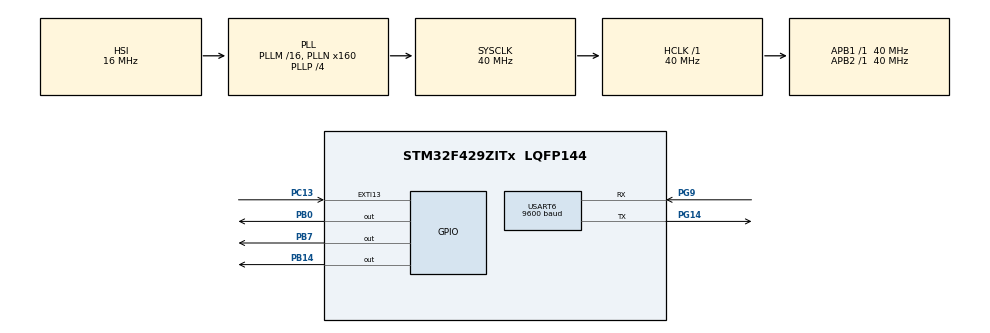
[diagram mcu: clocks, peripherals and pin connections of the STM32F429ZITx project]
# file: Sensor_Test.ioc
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FREERTOS.Tasks01=defaultTask,24,128,StartDefaultTask,Default,NULL,Dynamic,NULL,NULL;Read_Sensor,8,128,StartRead_Sensor,Default,NULL,Dynamic,NULL,NULL;NDVIRead,32,128,StartNDVIRead,Default,NULL,Dynamic,NULL,NULL;Feedback,8,128,StartFeedback,Default,NULL,Dynamic,NULL,NULL;Debounce,40,128,StartDebounce,Default,NULL,Dynamic,NULL,NULL
FREERTOS.configUSE_NEWLIB_REENTRANT=1
Mcu.Family=STM32F4
Mcu.Name=STM32F429ZITx
Mcu.Package=LQFP144
NVIC.EXTI15_10_IRQn=true\:5\:0\:false\:false\:true\:true\:true\:true\:true
NVIC.PriorityGroup=NVIC_PRIORITYGROUP_4
NVIC.TIM4_IRQn=true\:15\:0\:false\:false\:true\:false\:false\:true\:true
NVIC.TimeBase=TIM4_IRQn
NVIC.TimeBaseIP=TIM4
PB0.Signal=GPIO_Output
PB14.Signal=GPIO_Output
PB7.Signal=GPIO_Output
PC13.GPIO_ModeDefaultEXTI=GPIO_MODE_IT_RISING
PC13.Signal=GPXTI13
PG14.Mode=Asynchronous
PG14.Signal=USART6_TX
PG9.Mode=Asynchronous
PG9.Signal=USART6_RX
ProjectManager.HeapSize=0x200
ProjectManager.StackSize=0x400
ProjectManager.TargetToolchain=STM32CubeIDE
RCC.48MHZClocksFreq_Value=40000000
RCC.AHBFreq_Value=40000000
RCC.APB1Freq_Value=40000000
RCC.APB1TimFreq_Value=40000000
RCC.APB2Freq_Value=40000000
RCC.APB2TimFreq_Value=40000000
RCC.CortexFreq_Value=40000000
RCC.HCLKFreq_Value=40000000
RCC.HSE_VALUE=25000000
RCC.HSI_VALUE=16000000
RCC.LSE_VALUE=32768
RCC.PLLN=160
RCC.PLLP=RCC_PLLP_DIV4
RCC.SYSCLKFreq_VALUE=40000000
RCC.SYSCLKSource=RCC_SYSCLKSOURCE_PLLCLK
RCC.VCOOutputFreq_Value=160000000
USART6.BaudRate=9600
USART6.Mode=MODE_TX_RX
USART6.OverSampling=UART_OVERSAMPLING_16
USART6.VirtualMode=VM_ASYNC
VP_FREERTOS_VS_CMSIS_V2.Mode=CMSIS_V2
VP_SYS_VS_tim4.Mode=TIM4
board=custom

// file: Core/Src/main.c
/* USER CODE BEGIN Header */
/**
  ******************************************************************************
  * @file           : main.c
  * @brief          : Main program body
  ******************************************************************************
  * @attention
  *
  * Copyright (c) 2022 STMicroelectronics.
  * All rights reserved.
  *
  * This software is licensed under terms that can be found in the LICENSE file
  * in the root directory of this software component.
  * If no LICENSE file comes with this software, it is provided AS-IS.
  *
  ******************************************************************************
  */
/* USER CODE END Header */
#include "main.h"
#include "cmsis_os.h"
#include "usart.h"
#include "gpio.h"

void SystemClock_Config(void);
void MX_FREERTOS_Init(void);

int main(void)
{

  /* MCU Configuration--------------------------------------------------------*/

  /* Reset of all peripherals, Initializes the Flash interface and the Systick. */
  HAL_Init();

  /* Configure the system clock */
  SystemClock_Config();

  /* Initialize all configured peripherals */
  MX_GPIO_Init();
  MX_USART6_UART_Init();

  /* Init scheduler */
  osKernelInitialize();  /* Call init function for freertos objects (in freertos.c) */
  MX_FREERTOS_Init();

  /* Start scheduler */
  osKernelStart();

  /* We should never get here as control is now taken by the scheduler */
  /* Infinite loop */
  while (1)
  {

  }
}

void SystemClock_Config(void)
{
  RCC_OscInitTypeDef RCC_OscInitStruct = {0};
  RCC_ClkInitTypeDef RCC_ClkInitStruct = {0};

  /** Configure the main internal regulator output voltage
  */
  __HAL_RCC_PWR_CLK_ENABLE();
  __HAL_PWR_VOLTAGESCALING_CONFIG(PWR_REGULATOR_VOLTAGE_SCALE3);

  /** Initializes the RCC Oscillators according to the specified parameters
  * in the RCC_OscInitTypeDef structure.
  */
  RCC_OscInitStruct.OscillatorType = RCC_OSCILLATORTYPE_HSI;
  RCC_OscInitStruct.HSIState = RCC_HSI_ON;
  RCC_OscInitStruct.HSICalibrationValue = RCC_HSICALIBRATION_DEFAULT;
  RCC_OscInitStruct.PLL.PLLState = RCC_PLL_ON;
  RCC_OscInitStruct.PLL.PLLSource = RCC_PLLSOURCE_HSI;
  RCC_OscInitStruct.PLL.PLLM = 16;
  RCC_OscInitStruct.PLL.PLLN = 160;
  RCC_OscInitStruct.PLL.PLLP = RCC_PLLP_DIV4;
  RCC_OscInitStruct.PLL.PLLQ = 4;
  if (HAL_RCC_OscConfig(&RCC_OscInitStruct) != HAL_OK)
  {
    Error_Handler();
  }

  /** Initializes the CPU, AHB and APB buses clocks
  */
  RCC_ClkInitStruct.ClockType = RCC_CLOCKTYPE_HCLK|RCC_CLOCKTYPE_SYSCLK
                              |RCC_CLOCKTYPE_PCLK1|RCC_CLOCKTYPE_PCLK2;
  RCC_ClkInitStruct.SYSCLKSource = RCC_SYSCLKSOURCE_PLLCLK;
  RCC_ClkInitStruct.AHBCLKDivider = RCC_SYSCLK_DIV1;
  RCC_ClkInitStruct.APB1CLKDivider = RCC_HCLK_DIV1;
  RCC_ClkInitStruct.APB2CLKDivider = RCC_HCLK_DIV1;

  if (HAL_RCC_ClockConfig(&RCC_ClkInitStruct, FLASH_LATENCY_1) != HAL_OK)
  {
    Error_Handler();
  }
}

void HAL_TIM_PeriodElapsedCallback(TIM_HandleTypeDef *htim)
{
  if (htim->Instance == TIM4) {
    HAL_IncTick();
  }
}

void Error_Handler(void)
{
  __disable_irq();
  while (1)
  {
  }
}

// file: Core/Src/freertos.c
/* USER CODE BEGIN Header */
/**
  ******************************************************************************
  * File Name          : freertos.c
  * Description        : Code for freertos applications
  ******************************************************************************
  * @attention
  *
  * Copyright (c) 2022 STMicroelectronics.
  * All rights reserved.
  *
  * This software is licensed under terms that can be found in the LICENSE file
  * in the root directory of this software component.
  * If no LICENSE file comes with this software, it is provided AS-IS.
  *
  ******************************************************************************
  */
/* USER CODE END Header */

#include "FreeRTOS.h"
#include "task.h"
#include "main.h"
#include "cmsis_os.h"

/* USER CODE BEGIN Includes */
#include "variables.h"
#include "usart.h"
/* USER CODE END Includes */

/* USER CODE BEGIN PD */
float IR;
float LR;
float NDVI;
int Hum;
int Lum;

/* USER CODE END PD */

/* Definitions for defaultTask */
osThreadId_t defaultTaskHandle;
const osThreadAttr_t defaultTask_attributes = {
  .name = "defaultTask",
  .stack_size = 128 * 4,
  .priority = (osPriority_t) osPriorityNormal,
};
/* Definitions for Read_Sensor */
osThreadId_t Read_SensorHandle;
const osThreadAttr_t Read_Sensor_attributes = {
  .name = "Read_Sensor",
  .stack_size = 128 * 4,
  .priority = (osPriority_t) osPriorityLow,
};
/* Definitions for NDVIRead */
osThreadId_t NDVIReadHandle;
const osThreadAttr_t NDVIRead_attributes = {
  .name = "NDVIRead",
  .stack_size = 128 * 4,
  .priority = (osPriority_t) osPriorityAboveNormal,
};
/* Definitions for Feedback */
osThreadId_t FeedbackHandle;
const osThreadAttr_t Feedback_attributes = {
  .name = "Feedback",
  .stack_size = 128 * 4,
  .priority = (osPriority_t) osPriorityLow,
};
/* Definitions for Debounce */
osThreadId_t DebounceHandle;
const osThreadAttr_t Debounce_attributes = {
  .name = "Debounce",
  .stack_size = 128 * 4,
  .priority = (osPriority_t) osPriorityHigh,
};

void StartDefaultTask(void *argument);
void StartRead_Sensor(void *argument);
void StartNDVIRead(void *argument);
void StartFeedback(void *argument);
void StartDebounce(void *argument);

void MX_FREERTOS_Init(void); /* (MISRA C 2004 rule 8.1) */

void MX_FREERTOS_Init(void) {

  /* Create the thread(s) */
  /* creation of defaultTask */
  defaultTaskHandle = osThreadNew(StartDefaultTask, NULL, &defaultTask_attributes);

  /* creation of Read_Sensor */
  Read_SensorHandle = osThreadNew(StartRead_Sensor, NULL, &Read_Sensor_attributes);

  /* creation of NDVIRead */
  NDVIReadHandle = osThreadNew(StartNDVIRead, NULL, &NDVIRead_attributes);

  /* creation of Feedback */
  FeedbackHandle = osThreadNew(StartFeedback, NULL, &Feedback_attributes);

  /* creation of Debounce */
  DebounceHandle = osThreadNew(StartDebounce, NULL, &Debounce_attributes);

}

void StartDefaultTask(void *argument)
{
  for(;;)
  {
    osDelay(1);
  }
}

void StartRead_Sensor(void *argument)
{
  /* USER CODE BEGIN StartRead_Sensor */
  /* Infinite loop */
	for(;;){
	  vTaskSuspend(NULL);
	  char n = 3;
	  char Msg[n];
	  int s = 0;
	  HAL_UART_Receive(&huart6, Msg, n, 5000);

	  for(int i = 0;i<n-1;i++){
		  s += Msg[i];
	  }

	  if(s==Msg[n-1]){
		  Hum = Msg[0];
		  Lum = Msg[1];
	  }
	}
  /* USER CODE END StartRead_Sensor */
}

void StartNDVIRead(void *argument)
{
  /* USER CODE BEGIN StartNDVIRead */
  /* Infinite loop */
	for(;;){
	  vTaskSuspend(NULL);
	  NDVI = (IR-LR)/(IR+LR);
	  NDVI *= 100;
	  int NDVI_int = (int)NDVI;

	  switch (NDVI_int){
		  case -100 ... 0:
			  //La planta esta muetra
			  break;
		  case 1 ... 33:
			  //La planta necesita Agua o Luz o Ambas
			  //Activo la lectura de los sensores
		  	  vTaskResume(Read_SensorHandle);
			  break;
		  case 34 ... 66:
			  //La planta necesita Agua o Luz o Ambas
			  //Activo la lectura de los sensores
		  	  vTaskResume(Read_SensorHandle);
			  break;
		  case 67 ... 100:
			  //La planta esta perfecta
			  break;
		  default:
			  break;
	  }
	  vTaskResume(FeedbackHandle);
	}
  /* USER CODE END StartNDVIRead */
}

void StartFeedback(void *argument)
{
  /* USER CODE BEGIN StartFeedback */
  /* Infinite loop */
  for(;;)
  {
	vTaskSuspend(NULL);
	int NDVI_int = (int)NDVI;
	switch (NDVI_int){
	  case -100 ... 0:
		  //La planta esta muetra
	  	  HAL_GPIO_WritePin(GPIOB, GPIO_PIN_14, GPIO_PIN_SET);
		  HAL_GPIO_WritePin(GPIOB, GPIO_PIN_7, GPIO_PIN_RESET);
		  HAL_GPIO_WritePin(GPIOB, GPIO_PIN_0, GPIO_PIN_SET);
		  break;
	  case 1 ... 33:
		  //La planta necesita Agua o Luz o Ambas
		  //Activo la lectura de los sensores
	  	  HAL_GPIO_WritePin(GPIOB, GPIO_PIN_0, GPIO_PIN_RESET);
		  HAL_GPIO_WritePin(GPIOB, GPIO_PIN_7, GPIO_PIN_RESET);
		  HAL_GPIO_WritePin(GPIOB, GPIO_PIN_14, GPIO_PIN_SET);
		  break;
	  case 34 ... 66:
		  //La planta necesita Agua o Luz o Ambas
		  //Activo la lectura de los sensores
	  	  HAL_GPIO_WritePin(GPIOB, GPIO_PIN_14, GPIO_PIN_RESET);
		  HAL_GPIO_WritePin(GPIOB, GPIO_PIN_7, GPIO_PIN_SET);
		  HAL_GPIO_WritePin(GPIOB, GPIO_PIN_0, GPIO_PIN_RESET);
		  break;
	  case 67 ... 100:
		  //La planta esta perfecta
	  	  HAL_GPIO_WritePin(GPIOB, GPIO_PIN_0, GPIO_PIN_SET);
		  HAL_GPIO_WritePin(GPIOB, GPIO_PIN_7, GPIO_PIN_RESET);
		  HAL_GPIO_WritePin(GPIOB, GPIO_PIN_14, GPIO_PIN_RESET);
		  break;
	  default:
		  break;
	}
  }
  /* USER CODE END StartFeedback */
}

void StartDebounce(void *argument)
{
  /* USER CODE BEGIN StartDebounce */
  /* Infinite loop */
  IR = 3.4;
  LR = 6.2;
  for(;;)
  {
	  vTaskSuspend(NULL);
	  // Inhabilita IRQ
	  HAL_NVIC_DisableIRQ(EXTI15_10_IRQn);
	  osDelay(1);
	  if (HAL_GPIO_ReadPin(GPIOC, GPIO_PIN_9) == GPIO_PIN_SET)
	  {
		 vTaskResume(NDVIReadHandle);
	  }
	  HAL_NVIC_EnableIRQ(EXTI15_10_IRQn);
  }
  /* USER CODE END StartDebounce */
}

/* USER CODE BEGIN Application */
void HAL_GPIO_EXTI_Callback(uint16_t GPIO_Pin)
{
	if (GPIO_Pin == 8192){
		xTaskResumeFromISR(DebounceHandle);
		}
	else{
		__NOP();
	}
}
/* USER CODE END Application */
